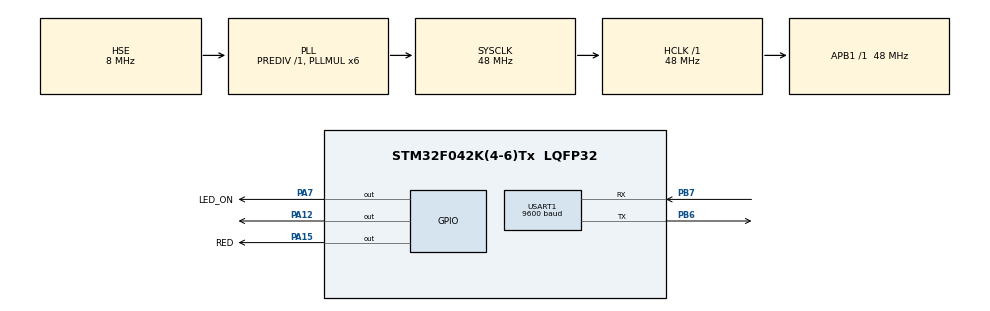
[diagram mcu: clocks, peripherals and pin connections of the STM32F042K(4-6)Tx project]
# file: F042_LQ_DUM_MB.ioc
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Mcu.Family=STM32F0
Mcu.Name=STM32F042K(4-6)Tx
Mcu.Package=LQFP32
NVIC.TIM14_IRQn=true\:0\:0\:false\:false\:true\:true\:true\:true
NVIC.USART1_IRQn=true\:0\:0\:false\:false\:true\:true\:true\:true
PA12.Signal=GPIO_Output
PA13.Mode=Serial_Wire
PA13.Signal=SYS_SWDIO
PA14.Mode=Serial_Wire
PA14.Signal=SYS_SWCLK
PA15.GPIO_Label=RED
PA15.Signal=GPIO_Output
PA7.GPIO_Label=LED_ON
PA7.Signal=GPIO_Output
PB6.Mode=Asynchronous
PB6.Signal=USART1_TX
PB7.Mode=Asynchronous
PB7.Signal=USART1_RX
PF0-OSC_IN.Mode=HSE-External-Oscillator
PF0-OSC_IN.Signal=RCC_OSC_IN
PF1-OSC_OUT.Mode=HSE-External-Oscillator
PF1-OSC_OUT.Signal=RCC_OSC_OUT
ProjectManager.HeapSize=0x200
ProjectManager.StackSize=0x400
ProjectManager.TargetToolchain=STM32CubeIDE
RCC.AHBFreq_Value=48000000
RCC.APB1Freq_Value=48000000
RCC.APB1TimFreq_Value=48000000
RCC.HCLKFreq_Value=48000000
RCC.PLLMUL=RCC_PLL_MUL6
RCC.PLLSourceVirtual=RCC_PLLSOURCE_HSE
RCC.SYSCLKFreq_VALUE=48000000
RCC.SYSCLKSource=RCC_SYSCLKSOURCE_PLLCLK
TIM14.Period=60000
TIM14.Prescaler=2399
USART1.BaudRate=9600
USART1.Parity=PARITY_EVEN
USART1.VirtualMode-Asynchronous=VM_ASYNC
USART1.WordLength=WORDLENGTH_9B
VP_TIM14_VS_ClockSourceINT.Mode=Enable_Timer
board=custom

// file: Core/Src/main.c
/* USER CODE BEGIN Header */
/**
  ******************************************************************************
  * @file           : main.c
  * @brief          : Main program body
  ******************************************************************************
  * @attention
  *
  * Copyright (c) 2025 STMicroelectronics.
  * All rights reserved.
  *
  * This software is licensed under terms that can be found in the LICENSE file
  * in the root directory of this software component.
  * If no LICENSE file comes with this software, it is provided AS-IS.
  *
  ******************************************************************************
  */
/* USER CODE END Header */
#include "main.h"

/* USER CODE BEGIN Includes */
 #include "stm32f0xx_hal.h"
 #include <stdio.h>
  #include <math.h>
  #include <stdlib.h>   // Преобразование строки

#include "microtbx.h"
#include "microtbxmodbus.h"

/* USER CODE END Includes */

/* USER CODE BEGIN PTD */
#define LED_ON           GPIOA->BSRR = GPIO_BSRR_BS_7;       // Светодиод VD1      горит
#define LED_OFF          GPIOA->BSRR = GPIO_BSRR_BR_7;       // Светодиод VD1   НЕ горит
//#define LED_RED_ON       GPIOA->BSRR = GPIO_BSRR_BS_15;              // Светодиод LED_RED     горит
//#define LED_RED_OFF      GPIOA->BSRR = GPIO_BSRR_BR_15;              // Светодиод LED_RED  НЕ горит
//#define LED_GREEN_ON       GPIOA->BSRR = GPIO_BSRR_BS_10;              // Светодиод LED_GREEN    горит
//#define LED_GREEN_OFF      GPIOA->BSRR = GPIO_BSRR_BR_10;              // Светодиод LED_GREEN  НЕ горит
/* USER CODE END PTD */

TIM_HandleTypeDef htim14;

UART_HandleTypeDef huart1;

/* USER CODE BEGIN PV */
tTbxMbTp modbusTp;
tTbxMbServer modbusServer;

/* USER CODE END PV */

void SystemClock_Config(void);
static void MX_GPIO_Init(void);
static void MX_TIM14_Init(void);
static void MX_USART1_UART_Init(void);
/* USER CODE BEGIN PFP */
  //  void RS485_Send(uint8_t *data, uint16_t size);
   //  void RS485_Receive(void);
/* USER CODE END PFP */

/* USER CODE BEGIN 0 */
tTbxMbServerResult ModbusReadInputReg(tTbxMbServer   channel,  // Чтобы добавить поддержку таблиц данных Modbus, необходимо реализовать функцию
                                      uint16_t       addr,      // обратного вызова и зарегистрировать её на сервере Modbus.
                                      uint16_t     * value)    //  Для чтения двух наших входных регистров добавьте следующую функцию над функцией main():
{
  tTbxMbServerResult result = TBX_MB_SERVER_OK;

  switch (addr)          /* Фильтрация по запрошенному адресу входного регистра. */
  {
  case 00U:     //30000U:
    *value = 1234U;
    break;

  case 01U:   //30001U:
    *value = 5678U;
    break;

  default:
	  /* Неподдерживаемый адрес входного регистра. */
    result = TBX_MB_SERVER_ERR_ILLEGAL_DATA_ADDR;
    break;
  }

  /* Give the result back to the caller. */
  return result;        /* Верните результат вызывающей стороне. */
}
/* USER CODE END 0 */

int main(void)
{

  /* MCU Configuration--------------------------------------------------------*/

  /* Reset of all peripherals, Initializes the Flash interface and the Systick. */
  HAL_Init();

  /* Configure the system clock */
  SystemClock_Config();

  /* Initialize all configured peripherals */
  MX_GPIO_Init();
  MX_TIM14_Init();
  MX_USART1_UART_Init();
  /* USER CODE BEGIN 2 */
  LED_ON ;
      HAL_Delay(50);
  LED_OFF ;
	  HAL_Delay(400);
  LED_ON ;
	  HAL_Delay(50);
  LED_OFF ;
	  HAL_Delay(40);
  LED_ON ;
	  HAL_Delay(80);
  LED_OFF ;
      HAL_Delay(50);
  LED_ON ;
	  HAL_Delay(500);
  LED_OFF ;
      HAL_Delay(50);

  modbusTp = TbxMbRtuCreate(10, TBX_MB_UART_PORT1, TBX_MB_UART_9600BPS,   // объекты сервера Modbus. ( 10, TBX_MB_UART_PORT1, TBX_MB_UART_19200BPS
                            TBX_MB_UART_1_STOPBITS, TBX_MB_EVEN_PARITY);    // TBX_MB_UART_1_STOPBITS, TBX_MB_EVEN_PARITY);     NO
  modbusServer = TbxMbServerCreate(modbusTp);

  // ?????
  TbxMbServerSetCallbackReadInputReg(modbusServer, ModbusReadInputReg);  // После реализации функции обратного вызова нам нужно просто зарегистрировать её на сервере Modbus.

  /* USER CODE END 2 */

  /* Infinite loop */
  /* USER CODE BEGIN WHILE */
  while (1)
  {
	  TbxMbEventTask();   //  Modbus RTU  вызов функции обработки событий
	  (GPIOA->ODR ^= (1U << 15)) ;  // Toggle A15
    /* USER CODE END WHILE */

  }
}

void SystemClock_Config(void)
{
  RCC_OscInitTypeDef RCC_OscInitStruct = {0};
  RCC_ClkInitTypeDef RCC_ClkInitStruct = {0};
  RCC_PeriphCLKInitTypeDef PeriphClkInit = {0};

  /** Initializes the RCC Oscillators according to the specified parameters
  * in the RCC_OscInitTypeDef structure.
  */
  RCC_OscInitStruct.OscillatorType = RCC_OSCILLATORTYPE_HSE;
  RCC_OscInitStruct.HSEState = RCC_HSE_ON;
  RCC_OscInitStruct.PLL.PLLState = RCC_PLL_ON;
  RCC_OscInitStruct.PLL.PLLSource = RCC_PLLSOURCE_HSE;
  RCC_OscInitStruct.PLL.PLLMUL = RCC_PLL_MUL6;
  RCC_OscInitStruct.PLL.PREDIV = RCC_PREDIV_DIV1;
  if (HAL_RCC_OscConfig(&RCC_OscInitStruct) != HAL_OK)
  {
    Error_Handler();
  }

  /** Initializes the CPU, AHB and APB buses clocks
  */
  RCC_ClkInitStruct.ClockType = RCC_CLOCKTYPE_HCLK|RCC_CLOCKTYPE_SYSCLK
                              |RCC_CLOCKTYPE_PCLK1;
  RCC_ClkInitStruct.SYSCLKSource = RCC_SYSCLKSOURCE_PLLCLK;
  RCC_ClkInitStruct.AHBCLKDivider = RCC_SYSCLK_DIV1;
  RCC_ClkInitStruct.APB1CLKDivider = RCC_HCLK_DIV1;

  if (HAL_RCC_ClockConfig(&RCC_ClkInitStruct, FLASH_LATENCY_1) != HAL_OK)
  {
    Error_Handler();
  }
  PeriphClkInit.PeriphClockSelection = RCC_PERIPHCLK_USART1;
  PeriphClkInit.Usart1ClockSelection = RCC_USART1CLKSOURCE_PCLK1;
  if (HAL_RCCEx_PeriphCLKConfig(&PeriphClkInit) != HAL_OK)
  {
    Error_Handler();
  }
}

static void MX_TIM14_Init(void)
{

  htim14.Instance = TIM14;
  htim14.Init.Prescaler = 2399;
  htim14.Init.CounterMode = TIM_COUNTERMODE_UP;
  htim14.Init.Period = 60000;
  htim14.Init.ClockDivision = TIM_CLOCKDIVISION_DIV1;
  htim14.Init.AutoReloadPreload = TIM_AUTORELOAD_PRELOAD_DISABLE;
  if (HAL_TIM_Base_Init(&htim14) != HAL_OK)
  {
    Error_Handler();
  }

}

static void MX_USART1_UART_Init(void)
{

  huart1.Instance = USART1;
  huart1.Init.BaudRate = 9600;
  huart1.Init.WordLength = UART_WORDLENGTH_9B;
  huart1.Init.StopBits = UART_STOPBITS_1;
  huart1.Init.Parity = UART_PARITY_EVEN;
  huart1.Init.Mode = UART_MODE_TX_RX;
  huart1.Init.HwFlowCtl = UART_HWCONTROL_NONE;
  huart1.Init.OverSampling = UART_OVERSAMPLING_16;
  huart1.Init.OneBitSampling = UART_ONE_BIT_SAMPLE_DISABLE;
  huart1.AdvancedInit.AdvFeatureInit = UART_ADVFEATURE_NO_INIT;
  if (HAL_UART_Init(&huart1) != HAL_OK)
  {
    Error_Handler();
  }

}

static void MX_GPIO_Init(void)
{
  GPIO_InitTypeDef GPIO_InitStruct = {0};

  /* GPIO Ports Clock Enable */
  __HAL_RCC_GPIOF_CLK_ENABLE();
  __HAL_RCC_GPIOA_CLK_ENABLE();
  __HAL_RCC_GPIOB_CLK_ENABLE();

  /*Configure GPIO pin Output Level */
  HAL_GPIO_WritePin(GPIOA, LED_ON_Pin|GPIO_PIN_12|RED_Pin, GPIO_PIN_RESET);

  /*Configure GPIO pins : LED_ON_Pin PA12 RED_Pin */
  GPIO_InitStruct.Pin = LED_ON_Pin|GPIO_PIN_12|RED_Pin;
  GPIO_InitStruct.Mode = GPIO_MODE_OUTPUT_PP;
  GPIO_InitStruct.Pull = GPIO_NOPULL;
  GPIO_InitStruct.Speed = GPIO_SPEED_FREQ_LOW;
  HAL_GPIO_Init(GPIOA, &GPIO_InitStruct);

}

void Error_Handler(void)
{
  __disable_irq();
  while (1)
  {
  }
}
